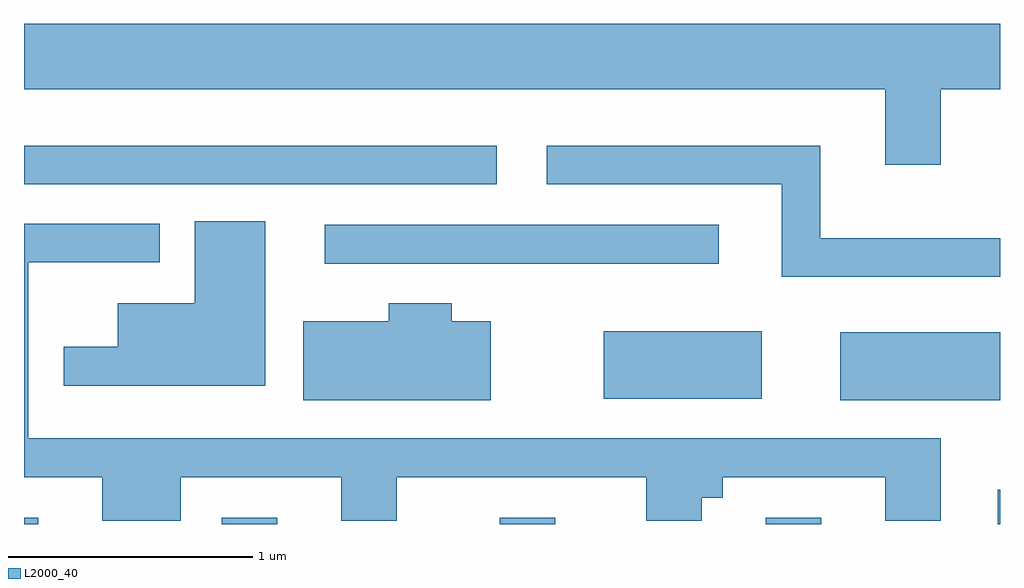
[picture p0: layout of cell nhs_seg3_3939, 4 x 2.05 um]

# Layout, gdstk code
import gdstk
lib = gdstk.Library(unit=1e-6, precision=1e-09)
def R(c, l, rs):  # rectangles x0, y0, x1, y1
    for r in rs: c.add(gdstk.rectangle(r[:2], r[2:], *l))
def P(c, l, *ps):  # polygons
    for p in ps: c.add(gdstk.Polygon(p, *l))
L2000_40 = (2000, 40)

nhs_seg3_3939 = lib.new_cell('nhs_seg3_3939')
R(nhs_seg3_3939, L2000_40, [(299.611,1241.892,299.669,1241.919), (300.421,1241.892,300.649,1241.919), (301.561,1241.892,301.789,1241.919), (302.651,1241.892,302.879,1241.919), (303.601,1241.892,303.611,1242.034), (302.956,1242.401,303.611,1242.679), (301.986,1242.406,302.634,1242.684), (300.843,1242.961,302.458,1243.119), (299.611,1243.286,301.548,1243.444)])
P(nhs_seg3_3939, L2000_40, [(303.369,1243.676),(303.611,1243.676),(303.611,1243.944),(299.611,1243.944),(299.611,1243.676),(303.141,1243.676),(303.141,1243.366),(303.369,1243.366)],
  [(303.611,1243.064),(302.874,1243.064),(302.874,1243.444),(301.753,1243.444),(301.753,1243.286),(302.716,1243.286),(302.716,1242.906),(303.611,1242.906)],
  [(300.599,1243.134),(300.311,1243.134),(300.311,1242.799),(299.996,1242.799),(299.996,1242.619),(299.773,1242.619),(299.773,1242.461),(300.599,1242.461)],
  [(300.254,1242.086),(300.911,1242.086),(300.911,1241.906),(301.139,1241.906),(301.139,1242.086),(302.161,1242.086),(302.161,1241.906),(302.389,1241.906),(302.389,1242.001),(302.474,1242.001),(302.474,1242.086),(303.141,1242.086),(303.141,1241.906),(303.369,1241.906),(303.369,1242.244),(299.629,1242.244),(299.629,1242.966),(300.168,1242.966),(300.168,1243.124),(299.611,1243.124),(299.611,1242.086),(299.931,1242.086),(299.931,1241.906),(300.254,1241.906)],
  [(301.524,1242.724),(301.364,1242.724),(301.364,1242.799),(301.106,1242.799),(301.106,1242.724),(300.756,1242.724),(300.756,1242.401),(301.524,1242.401)])

lib.write_gds('nhs_seg3_3939.gds')
